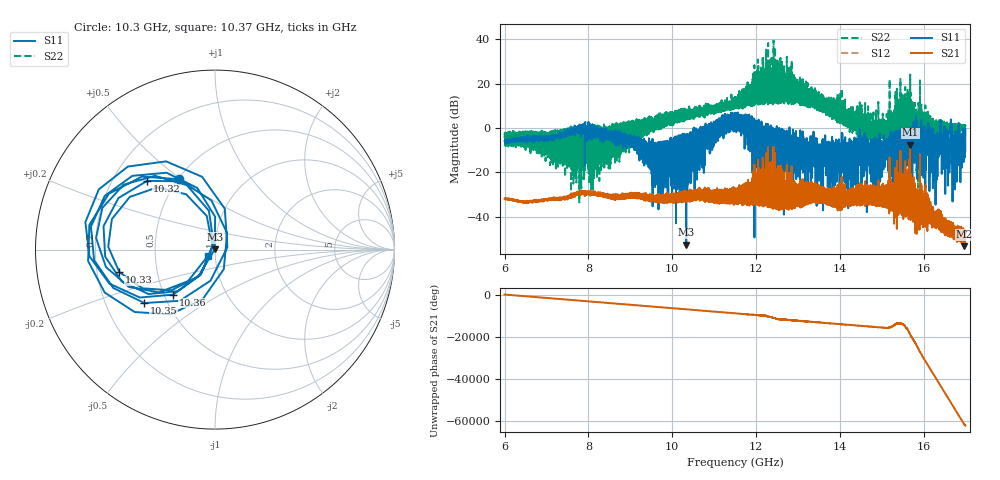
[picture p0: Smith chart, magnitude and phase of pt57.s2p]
#  HZ  S  RI  R  50.00
! Rohde & Schwarz Vector Network Analyzer
! Rohde-Schwarz,ZNA67-2Port,1332450062101215,3.01
! Created: UTC 10/16/2026, 10:32:36 AM
! freq[Hz]  re:S11  im:S11  re:S21  im:S21  re:S12  im:S12  re:S22  im:S22
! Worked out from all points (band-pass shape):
!   11001 points, 6 GHz to 17 GHz, reference 50 ohm
!   highest |S21| = -7.46 dB at 15.68 GHz (marker M1); lowest = -53.3 dB at 16.97 GHz (marker M2)
!   |S21| within 3 dB of the highest: 12.29091 GHz to 12.29109 GHz (177.5 kHz wide, 0.00144 % of centre); 12.41991 GHz to 12.4201 GHz (192 kHz wide, 0.00155 % of centre) (the widest 2 of 4)
!   lowest |S11| = -52.6 dB at 10.34 GHz (marker M3), VSWR 1.00, Z = 49.9 + j0.208 ohm
!   |S11| at or under -10 dB: 13.5289 GHz to 13.56786 GHz (38.95 MHz wide, 0.288 % of centre); 13.61045 GHz to 13.63838 GHz (27.94 MHz wide, 0.205 % of centre); 14.14718 GHz to 14.1734 GHz (26.22 MHz wide, 0.185 % of centre) (the widest 3 of 458)
!   |S22| runs from -33.6 to 39.5 dB; largest |S21 - S12| = 0.014
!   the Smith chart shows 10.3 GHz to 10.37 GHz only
!   S11 on the Smith chart (normalised r, x): 10.3 GHz: 0.51, +0.49; 10.32 GHz: 0.35, +0.37; 10.33 GHz: 0.30, -0.11; 10.35 GHz: 0.37, -0.29; 10.36 GHz: 0.56, -0.32; 10.37 GHz: 0.92, -0.07
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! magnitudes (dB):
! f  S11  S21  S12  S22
! 6 GHz  -5.8  -31.9  -31.9  -4.5
! 7.834 GHz  -0.6  -28.5  -28.3  -1.0
! 9.667 GHz  -6.3  -30.8  -31.0  5.5
! 10.3 GHz  -7.1  -31.4  -31.5  4.0
! 10.32 GHz  -5.4  -32.9  -32.9  4.3
! 10.33 GHz  -5.2  -32.4  -32.5  5.8
! 10.34 GHz  -52.6  -28.6  -28.7  8.1
! 10.35 GHz  -6.1  -32.0  -32.1  7.0
! 10.36 GHz  -9.3  -30.9  -31.0  7.4
! 10.37 GHz  -25.5  -29.0  -29.1  8.4
! 11.5 GHz  6.8  -32.4  -32.3  10.2
! 12.59 GHz  -3.3  -36.2  -36.2  11.9
! 13.33 GHz  -9.2  -31.6  -31.5  11.6
! 14.15 GHz  -16.7  -34.4  -34.4  1.5
! 14.62 GHz  -11.6  -30.9  -30.9  -0.6
! 15.17 GHz  -11.3  -23.5  -23.5  8.8
! 15.68 GHz  -8.3  -7.5  -7.4  24.2
! 15.8 GHz  -5.2  -37.2  -37.2  0.4
! 16.19 GHz  -13.7  -40.1  -40.1  -0.3
! 16.74 GHz  -2.6  -46.6  -46.5  0.9
! 16.97 GHz  -2.9  -53.3  -53.3  -0.8
! 17 GHz  -0.5  -47.4  -47.4  0.9
